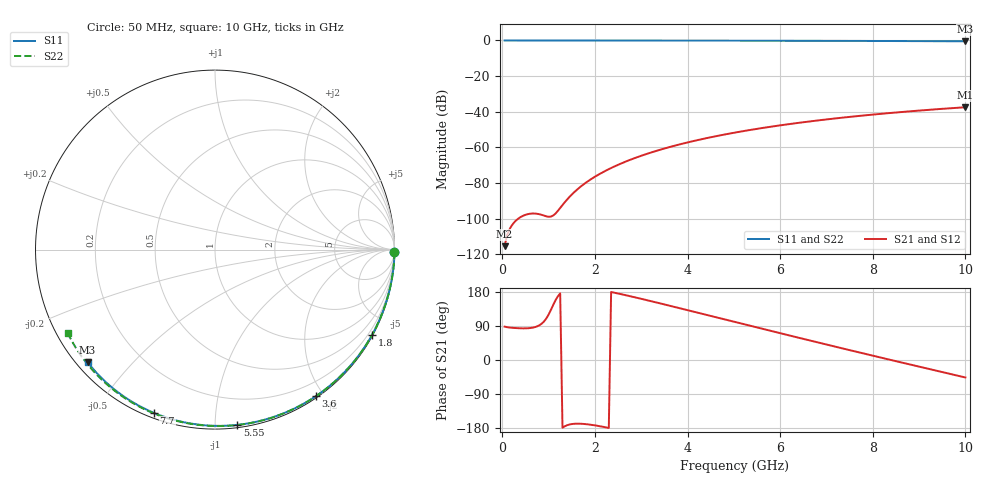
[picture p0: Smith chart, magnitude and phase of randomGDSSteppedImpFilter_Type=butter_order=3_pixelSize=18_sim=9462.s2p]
! freq	dB(S11)	phase(S11)	dB(S12)	phase(S12)
!  dB(S21)	phase(S21)	dB(S22)	phase(S22)
!S-par simulation data
#  GHz  S  DB  R 50
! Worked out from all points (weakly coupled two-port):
!   200 points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, 50 MHz to 10 GHz, reference 50 ohm
!   highest |S21| = -37.48 dB at 10 GHz (marker M1); lowest = -115.5 dB at 50 MHz (marker M2)
!   lowest |S11| = -0.5 dB at 10 GHz (marker M3), VSWR 37.06, Z = 1.54 - j18.9 ohm
!   |S11| at or under -10 dB: nowhere
!   |S22| runs from -0.5 to 0.0 dB; largest |S21 - S12| = 0
!   S11 on the Smith chart (normalised r, x): 50 MHz: open; 1.8 GHz: 0.03, -3.95; 3.6 GHz: 0.02, -1.90; 5.55 GHz: 0.02, -1.13; 7.7 GHz: 0.02, -0.69; 10 GHz: 0.03, -0.38
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0.05  -0.00 -0.8  -115.45 88.1  -115.45 88.1  -0.00 -0.9
0.45  -0.01 -7.2  -98.37 83.5  -98.37 83.5  -0.01 -7.8
0.9  -0.02 -14.3  -98.29 101.6  -98.29 101.6  -0.02 -15.6
1.3  -0.03 -20.6  -92.35 -178.7  -92.35 -178.7  -0.03 -22.4
1.75  -0.04 -27.6  -80.86 -168.7  -80.86 -168.7  -0.04 -30.0
1.8  -0.04 -28.4  -79.90 -169.2  -79.90 -169.2  -0.04 -30.8
1.95  -0.04 -30.7  -77.28 -171.5  -77.28 -171.5  -0.04 -33.3
2.1  -0.04 -33.0  -74.96 -174.6  -74.96 -174.6  -0.05 -35.8
2.3  -0.05 -36.1  -72.22 -179.3  -72.22 -179.3  -0.05 -39.1
2.5  -0.05 -39.1  -69.79 175.6  -69.79 175.6  -0.05 -42.4
2.9  -0.06 -45.2  -65.64 164.4  -65.64 164.4  -0.06 -48.9
3.4  -0.07 -52.6  -61.39 149.7  -61.39 149.7  -0.08 -56.9
3.6  -0.07 -55.5  -59.90 143.7  -59.90 143.7  -0.08 -60.1
4.3  -0.09 -65.5  -55.44 122.4  -55.44 122.4  -0.10 -70.9
5.05  -0.12 -76.0  -51.58 99.6  -51.58 99.6  -0.13 -82.2
5.55  -0.14 -82.8  -49.40 84.4  -49.40 84.4  -0.15 -89.5
6.1  -0.16 -90.1  -47.28 67.7  -47.28 67.7  -0.17 -97.3
6.7  -0.19 -97.9  -45.24 49.7  -45.24 49.7  -0.21 -105.8
7.7  -0.25 -110.5  -42.36 20.2  -42.36 20.2  -0.27 -119.5
8.35  -0.30 -118.5  -40.77 1.2  -40.77 1.2  -0.33 -128.2
9.2  -0.38 -128.8  -38.95 -23.3  -38.95 -23.3  -0.41 -139.7
10  -0.47 -138.5  -37.48 -46.1  -37.48 -46.1  -0.51 -150.5
